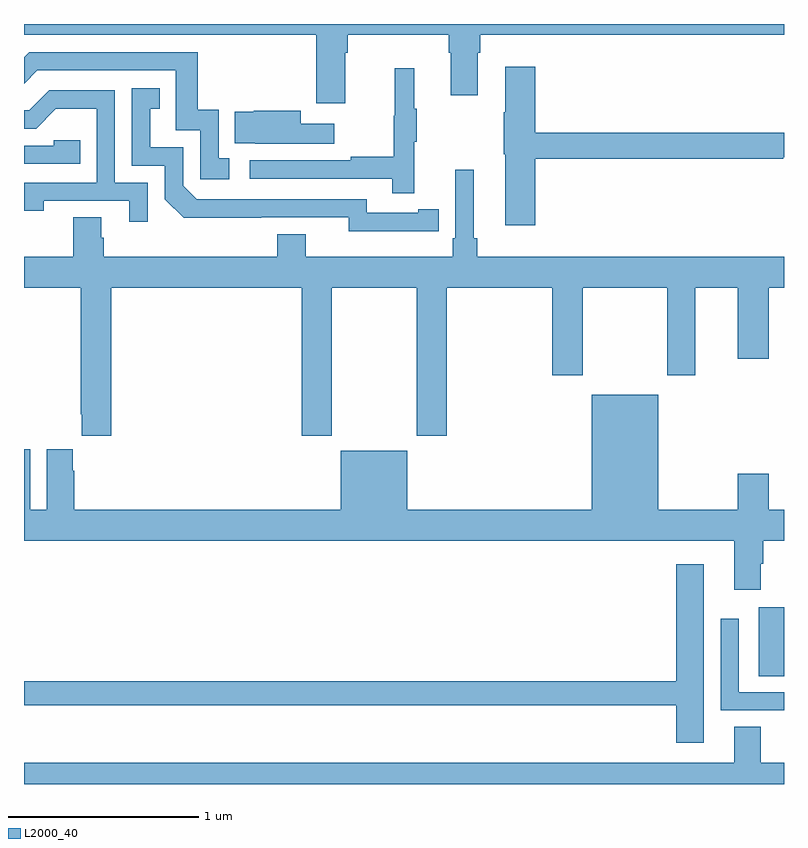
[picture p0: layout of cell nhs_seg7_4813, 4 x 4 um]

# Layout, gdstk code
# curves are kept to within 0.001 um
import gdstk
lib = gdstk.Library(unit=1e-6, precision=1e-09)
def R(c, l, rs):  # rectangles x0, y0, x1, y1
    for r in rs: c.add(gdstk.rectangle(r[:2], r[2:], *l))
def P(c, l, *ps):  # polygons
    for p in ps: c.add(gdstk.Polygon(p, *l))
L2000_40 = (2000, 40)

nhs_seg7_4813 = lib.new_cell('nhs_seg7_4813')
R(nhs_seg7_4813, L2000_40, [(416.867,1002.568,417,1002.931)])
P(nhs_seg7_4813, L2000_40, [(414.691,1005.848),(414.704,1005.848),(414.704,1005.944),(415.235,1005.944),(415.235,1005.848),(415.247,1005.848),(415.247,1005.624),(415.387,1005.624),(415.387,1005.848),(415.4,1005.848),(415.4,1005.944),(417,1005.944),(417,1006),(413,1006),(413,1005.944),(414.539,1005.944),(414.539,1005.582),(414.691,1005.582)],
  [(414.079,1005.294),(414.024,1005.294),(414.024,1005.55),(413.915,1005.55),(413.915,1005.852),(413.028,1005.852),(413,1005.824),(413,1005.686),(413.07,1005.756),(413.799,1005.756),(413.799,1005.441),(413.928,1005.441),(413.928,1005.183),(414.079,1005.183)],
  [(415.691,1005.292),(416.996,1005.292),(416.996,1005.299),(417,1005.299),(417,1005.428),(415.691,1005.428),(415.691,1005.775),(415.532,1005.775),(415.532,1005.536),(415.525,1005.536),(415.525,1005.315),(415.532,1005.315),(415.532,1004.94),(415.691,1004.94)],
  [(415.055,1005.379),(415.066,1005.379),(415.066,1005.553),(415.055,1005.553),(415.055,1005.766),(414.952,1005.766),(414.952,1005.516),(414.945,1005.516),(414.945,1005.302),(414.721,1005.302),(414.721,1005.282),(414.189,1005.282),(414.189,1005.186),(414.937,1005.186),(414.937,1005.108),(415.055,1005.108)],
  [(415.076,1004.91),(415.184,1004.91),(415.184,1005.026),(415.076,1005.026),(415.076,1005.006),(414.804,1005.006),(414.804,1005.078),(413.91,1005.078),(413.838,1005.15),(413.838,1005.351),(413.665,1005.351),(413.665,1005.555),(413.714,1005.555),(413.714,1005.661),(413.568,1005.661),(413.568,1005.255),(413.742,1005.255),(413.742,1005.078),(413.84,1004.981),(414.708,1004.982),(414.708,1004.909)],
  [(413.652,1005.165),(413.478,1005.165),(413.478,1005.651),(413.132,1005.651),(413.027,1005.546),(413,1005.546),(413,1005.45),(413.064,1005.45),(413.168,1005.554),(413.382,1005.554),(413.382,1005.165),(413,1005.165),(413,1005.018),(413.104,1005.018),(413.104,1005.069),(413.555,1005.069),(413.555,1004.958),(413.652,1004.958)],
  [(414.634,1005.475),(414.457,1005.475),(414.457,1005.544),(414.21,1005.544),(414.21,1005.537),(414.109,1005.537),(414.109,1005.373),(414.217,1005.373),(414.217,1005.371),(414.634,1005.371)],
  [(413.297,1005.387),(413.157,1005.387),(413.157,1005.36),(413,1005.36),(413,1005.264),(413.297,1005.264)],
  [(413.459,1004.612),(414.461,1004.612),(414.461,1003.833),(414.621,1003.833),(414.621,1004.612),(415.066,1004.612),(415.066,1003.833),(415.226,1003.833),(415.226,1004.612),(415.781,1004.612),(415.781,1004.151),(415.941,1004.151),(415.941,1004.612),(416.386,1004.612),(416.386,1004.151),(416.533,1004.151),(416.533,1004.612),(416.756,1004.612),(416.756,1004.238),(416.92,1004.238),(416.92,1004.612),(417,1004.612),(417,1004.776),(415.385,1004.776),(415.385,1004.872),(415.366,1004.872),(415.366,1005.232),(415.269,1005.232),(415.269,1004.872),(415.256,1004.872),(415.256,1004.776),(414.484,1004.776),(414.484,1004.893),(414.332,1004.893),(414.332,1004.776),(413.42,1004.776),(413.42,1004.874),(413.407,1004.874),(413.407,1004.984),(413.26,1004.984),(413.26,1004.776),(413,1004.776),(413,1004.612),(413.299,1004.612),(413.299,1003.945),(413.303,1003.945),(413.303,1003.833),(413.459,1003.833)],
  [(416.738,1003.023),(416.878,1003.023),(416.878,1003.16),(416.891,1003.16),(416.891,1003.28),(417,1003.28),(417,1003.444),(416.92,1003.444),(416.92,1003.633),(416.756,1003.633),(416.756,1003.444),(416.338,1003.444),(416.338,1004.05),(415.988,1004.05),(415.988,1003.444),(415.018,1003.444),(415.018,1003.753),(414.668,1003.753),(414.668,1003.444),(413.264,1003.444),(413.264,1003.649),(413.257,1003.649),(413.257,1003.762),(413.12,1003.762),(413.12,1003.444),(413.032,1003.444),(413.032,1003.762),(413,1003.762),(413,1003.28),(416.738,1003.28)],
  [(416.578,1003.156),(416.432,1003.156),(416.432,1002.542),(413,1002.542),(413,1002.414),(416.432,1002.414),(416.432,1002.216),(416.578,1002.216)],
  [(417,1002.483),(416.763,1002.483),(416.763,1002.871),(416.667,1002.871),(416.667,1002.387),(417,1002.387)],
  [(413,1002),(417,1002),(417,1002.112),(416.878,1002.112),(416.878,1002.302),(416.738,1002.302),(416.738,1002.112),(413,1002.112)])

lib.write_gds('nhs_seg7_4813.gds')
